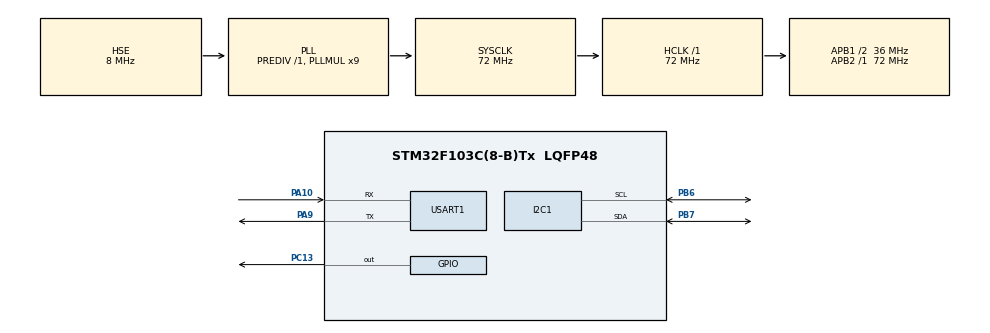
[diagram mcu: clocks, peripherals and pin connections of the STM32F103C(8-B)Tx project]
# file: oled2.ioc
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Dma.I2C1_RX.0.Direction=DMA_PERIPH_TO_MEMORY
Dma.I2C1_RX.0.Instance=DMA1_Channel7
Dma.I2C1_RX.0.MemDataAlignment=DMA_MDATAALIGN_BYTE
Dma.I2C1_RX.0.MemInc=DMA_MINC_ENABLE
Dma.I2C1_RX.0.Mode=DMA_NORMAL
Dma.I2C1_RX.0.PeriphDataAlignment=DMA_PDATAALIGN_BYTE
Dma.I2C1_RX.0.PeriphInc=DMA_PINC_DISABLE
Dma.I2C1_RX.0.Priority=DMA_PRIORITY_LOW
Dma.I2C1_TX.1.Direction=DMA_MEMORY_TO_PERIPH
Dma.I2C1_TX.1.Instance=DMA1_Channel6
Dma.I2C1_TX.1.MemDataAlignment=DMA_MDATAALIGN_BYTE
Dma.I2C1_TX.1.MemInc=DMA_MINC_ENABLE
Dma.I2C1_TX.1.Mode=DMA_NORMAL
Dma.I2C1_TX.1.PeriphDataAlignment=DMA_PDATAALIGN_BYTE
Dma.I2C1_TX.1.PeriphInc=DMA_PINC_DISABLE
Dma.I2C1_TX.1.Priority=DMA_PRIORITY_LOW
Dma.Request0=I2C1_RX
Dma.Request1=I2C1_TX
Mcu.Family=STM32F1
Mcu.Name=STM32F103C(8-B)Tx
Mcu.Package=LQFP48
NVIC.DMA1_Channel6_IRQn=true\:0\:0\:false\:false\:true\:false\:true\:true
NVIC.DMA1_Channel7_IRQn=true\:0\:0\:false\:false\:true\:false\:true\:true
NVIC.I2C1_ER_IRQn=true\:0\:0\:false\:false\:true\:true\:true\:true
NVIC.I2C1_EV_IRQn=true\:0\:0\:false\:false\:true\:true\:true\:true
NVIC.PriorityGroup=NVIC_PRIORITYGROUP_4
PA10.Mode=Asynchronous
PA10.Signal=USART1_RX
PA13.Mode=Serial_Wire
PA13.Signal=SYS_JTMS-SWDIO
PA14.Mode=Serial_Wire
PA14.Signal=SYS_JTCK-SWCLK
PA9.Mode=Asynchronous
PA9.Signal=USART1_TX
PB6.Mode=I2C
PB6.Signal=I2C1_SCL
PB7.Mode=I2C
PB7.Signal=I2C1_SDA
PC13-TAMPER-RTC.GPIO_PuPd=GPIO_PULLUP
PC13-TAMPER-RTC.PinState=GPIO_PIN_SET
PC13-TAMPER-RTC.Signal=GPIO_Output
PD0-OSC_IN.Mode=HSE-External-Oscillator
PD0-OSC_IN.Signal=RCC_OSC_IN
PD1-OSC_OUT.Mode=HSE-External-Oscillator
PD1-OSC_OUT.Signal=RCC_OSC_OUT
ProjectManager.HeapSize=0x200
ProjectManager.StackSize=0x400
ProjectManager.TargetToolchain=CMake
RCC.AHBFreq_Value=72000000
RCC.APB1CLKDivider=RCC_HCLK_DIV2
RCC.APB1Freq_Value=36000000
RCC.APB1TimFreq_Value=72000000
RCC.APB2Freq_Value=72000000
RCC.APB2TimFreq_Value=72000000
RCC.EnbaleCSS=true
RCC.HCLKFreq_Value=72000000
RCC.PLLMUL=RCC_PLL_MUL9
RCC.PLLSourceVirtual=RCC_PLLSOURCE_HSE
RCC.SYSCLKFreq_VALUE=72000000
RCC.SYSCLKSource=RCC_SYSCLKSOURCE_PLLCLK
RCC.USBFreq_Value=72000000
USART1.VirtualMode=VM_ASYNC
board=custom

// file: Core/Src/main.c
/* USER CODE BEGIN Header */
/**
  ******************************************************************************
  * @file           : main.c
  * @brief          : Main program body
  ******************************************************************************
  * @attention
  *
  * Copyright (c) 2026 STMicroelectronics.
  * All rights reserved.
  *
  * This software is licensed under terms that can be found in the LICENSE file
  * in the root directory of this software component.
  * If no LICENSE file comes with this software, it is provided AS-IS.
  *
  ******************************************************************************
  */
/* USER CODE END Header */
#include "main.h"

/* USER CODE BEGIN Includes */
#include "oled.h"
#include "MPU.h"

/* USER CODE END Includes */

I2C_HandleTypeDef hi2c1;
DMA_HandleTypeDef hdma_i2c1_rx;
DMA_HandleTypeDef hdma_i2c1_tx;

UART_HandleTypeDef huart1;

void SystemClock_Config(void);
static void MX_GPIO_Init(void);
static void MX_DMA_Init(void);
static void MX_I2C1_Init(void);
static void MX_USART1_UART_Init(void);

int main(void)
{

  /* USER CODE BEGIN 1 */
  int16_t a_x, a_y, a_z; //加速度
  int16_t w_x, w_y, w_z; //Omega
  int16_t a_x_tr, a_y_tr, a_z_tr; //加速度换算后的值
  int16_t w_x_tr, w_y_tr, w_z_tr; //角速度
  uint32_t now = 0;
  /* USER CODE END 1 */

  /* MCU Configuration--------------------------------------------------------*/

  /* Reset of all peripherals, Initializes the Flash interface and the Systick. */
  HAL_Init();

  /* Configure the system clock */
  SystemClock_Config();

  /* Initialize all configured peripherals */
  MX_GPIO_Init();
  MX_DMA_Init();
  MX_I2C1_Init();
  MX_USART1_UART_Init();
  /* USER CODE BEGIN 2 */
  OLED_Init();
  OLED_ShowString(0, 0, "MPU6050 Test", 16);
  MPU_Init();                         //先对MPU6050进行初始化
  //发送测试消息,屏幕正常
  if (g_mpu_ok)
  {
    OLED_ShowString(0, 2, "MPU6050 OK", 16);
    HAL_Delay(1000);
    OLED_ShowString(0, 0, "wx:", 16);  //24
    OLED_ShowString(0, 2, "wy:", 16);
    OLED_ShowString(0, 4, "wz:", 16);
    OLED_ShowString(64, 0, "ax:", 16);
    OLED_ShowString(64, 2, "ay:", 16);
    OLED_ShowString(64, 4, "az:", 16);
  }
  else
  {
    OLED_ShowString(0, 2, "MPU6050 ERR", 16);
  }

  //对于陀螺仪的检查不妨直接仍在主循环里面
  /* USER CODE END 2 */

  /* Infinite loop */
  /* USER CODE BEGIN WHILE */
  while (1)                             // 128 * 64(8)  128 = 8 * 16 = 3+3+2+8   25  57   - 1  cnm
    /* USER CODE END WHILE */

    /* USER CODE BEGIN 3 */
  if (g_mpu_ok && HAL_GetTick() - now > 200)  // 3*8 - 1 = 23  +8+1 = 24 +2*8 = 40  同理 80
  {
    now = HAL_GetTick();                                // 64ROW   128COL

    MPU_ReadRaw(&g_mpu);
    w_x = g_mpu.gyro_x_raw;
    w_y = g_mpu.gyro_y_raw;
    w_z = g_mpu.gyro_z_raw;
    a_x = g_mpu.acc_x_raw;
    a_y = g_mpu.acc_y_raw;
    a_z = g_mpu.acc_z_raw; //hal真好用。？

    MPU_Convert(&g_mpu);

    w_x_tr = (int16_t)(g_mpu.gyro_x * 10);
    w_y_tr = (int16_t)(g_mpu.gyro_y * 10);
    w_z_tr = (int16_t)(g_mpu.gyro_z * 10);
    a_x_tr = (int16_t)(g_mpu.acc_x * 100);
    a_y_tr = (int16_t)(g_mpu.acc_y * 100);
    a_z_tr = (int16_t)(g_mpu.acc_z * 100);

    OLED_ShowChar(24, 0, (w_x_tr < 0) ? '-' : ' ', 16);
    OLED_ShowNum (32, 0, (uint16_t)((w_x_tr < 0) ? -w_x_tr : w_x_tr), 4, 16);
    OLED_ShowChar(24, 2, (w_y_tr < 0) ? '-' : ' ', 16);
    OLED_ShowNum (32, 2, (uint16_t)((w_y_tr < 0) ? -w_y_tr : w_y_tr), 4, 16);
    OLED_ShowChar(24, 4, (w_z_tr < 0) ? '-' : ' ', 16);
    OLED_ShowNum (32, 4, (uint16_t)((w_z_tr < 0) ? -w_z_tr : w_z_tr), 4, 16);

    OLED_ShowChar(88, 0, (a_x_tr < 0) ? '-' : ' ', 16);
    OLED_ShowNum (96, 0, (uint16_t)((a_x_tr < 0) ? -a_x_tr : a_x_tr), 4, 16);
    OLED_ShowChar(88, 2, (a_y_tr < 0) ? '-' : ' ', 16);
    OLED_ShowNum (96, 2, (uint16_t)((a_y_tr < 0) ? -a_y_tr : a_y_tr), 4, 16);
    OLED_ShowChar(88, 4, (a_z_tr < 0) ? '-' : ' ', 16);
    OLED_ShowNum (96, 4, (uint16_t)((a_z_tr < 0) ? -a_z_tr : a_z_tr), 4, 16);
  }

    /* USER CODE END 3 */
  }
}

void SystemClock_Config(void)
{
  RCC_OscInitTypeDef RCC_OscInitStruct = {0};
  RCC_ClkInitTypeDef RCC_ClkInitStruct = {0};

  /** Initializes the RCC Oscillators according to the specified parameters
  * in the RCC_OscInitTypeDef structure.
  */
  RCC_OscInitStruct.OscillatorType = RCC_OSCILLATORTYPE_HSE;
  RCC_OscInitStruct.HSEState = RCC_HSE_ON;
  RCC_OscInitStruct.HSEPredivValue = RCC_HSE_PREDIV_DIV1;
  RCC_OscInitStruct.HSIState = RCC_HSI_ON;
  RCC_OscInitStruct.PLL.PLLState = RCC_PLL_ON;
  RCC_OscInitStruct.PLL.PLLSource = RCC_PLLSOURCE_HSE;
  RCC_OscInitStruct.PLL.PLLMUL = RCC_PLL_MUL9;
  if (HAL_RCC_OscConfig(&RCC_OscInitStruct) != HAL_OK)
  {
    Error_Handler();
  }

  /** Initializes the CPU, AHB and APB buses clocks
  */
  RCC_ClkInitStruct.ClockType = RCC_CLOCKTYPE_HCLK|RCC_CLOCKTYPE_SYSCLK
                              |RCC_CLOCKTYPE_PCLK1|RCC_CLOCKTYPE_PCLK2;
  RCC_ClkInitStruct.SYSCLKSource = RCC_SYSCLKSOURCE_PLLCLK;
  RCC_ClkInitStruct.AHBCLKDivider = RCC_SYSCLK_DIV1;
  RCC_ClkInitStruct.APB1CLKDivider = RCC_HCLK_DIV2;
  RCC_ClkInitStruct.APB2CLKDivider = RCC_HCLK_DIV1;

  if (HAL_RCC_ClockConfig(&RCC_ClkInitStruct, FLASH_LATENCY_2) != HAL_OK)
  {
    Error_Handler();
  }

  /** Enables the Clock Security System
  */
  HAL_RCC_EnableCSS();
}

static void MX_I2C1_Init(void)
{

  hi2c1.Instance = I2C1;
  hi2c1.Init.ClockSpeed = 100000;
  hi2c1.Init.DutyCycle = I2C_DUTYCYCLE_2;
  hi2c1.Init.OwnAddress1 = 0;
  hi2c1.Init.AddressingMode = I2C_ADDRESSINGMODE_7BIT;
  hi2c1.Init.DualAddressMode = I2C_DUALADDRESS_DISABLE;
  hi2c1.Init.OwnAddress2 = 0;
  hi2c1.Init.GeneralCallMode = I2C_GENERALCALL_DISABLE;
  hi2c1.Init.NoStretchMode = I2C_NOSTRETCH_DISABLE;
  if (HAL_I2C_Init(&hi2c1) != HAL_OK)
  {
    Error_Handler();
  }

}

static void MX_USART1_UART_Init(void)
{

  huart1.Instance = USART1;
  huart1.Init.BaudRate = 115200;
  huart1.Init.WordLength = UART_WORDLENGTH_8B;
  huart1.Init.StopBits = UART_STOPBITS_1;
  huart1.Init.Parity = UART_PARITY_NONE;
  huart1.Init.Mode = UART_MODE_TX_RX;
  huart1.Init.HwFlowCtl = UART_HWCONTROL_NONE;
  huart1.Init.OverSampling = UART_OVERSAMPLING_16;
  if (HAL_UART_Init(&huart1) != HAL_OK)
  {
    Error_Handler();
  }

}

static void MX_DMA_Init(void)
{

  /* DMA controller clock enable */
  __HAL_RCC_DMA1_CLK_ENABLE();

  /* DMA interrupt init */
  /* DMA1_Channel6_IRQn interrupt configuration */
  HAL_NVIC_SetPriority(DMA1_Channel6_IRQn, 0, 0);
  HAL_NVIC_EnableIRQ(DMA1_Channel6_IRQn);
  /* DMA1_Channel7_IRQn interrupt configuration */
  HAL_NVIC_SetPriority(DMA1_Channel7_IRQn, 0, 0);
  HAL_NVIC_EnableIRQ(DMA1_Channel7_IRQn);

}

static void MX_GPIO_Init(void)
{
  GPIO_InitTypeDef GPIO_InitStruct = {0};

  /* GPIO Ports Clock Enable */
  __HAL_RCC_GPIOC_CLK_ENABLE();
  __HAL_RCC_GPIOD_CLK_ENABLE();
  __HAL_RCC_GPIOA_CLK_ENABLE();
  __HAL_RCC_GPIOB_CLK_ENABLE();

  /*Configure GPIO pin Output Level */
  HAL_GPIO_WritePin(GPIOC, GPIO_PIN_13, GPIO_PIN_SET);

  /*Configure GPIO pin : PC13 */
  GPIO_InitStruct.Pin = GPIO_PIN_13;
  GPIO_InitStruct.Mode = GPIO_MODE_OUTPUT_PP;
  GPIO_InitStruct.Pull = GPIO_PULLUP;
  GPIO_InitStruct.Speed = GPIO_SPEED_FREQ_LOW;
  HAL_GPIO_Init(GPIOC, &GPIO_InitStruct);

}

void Error_Handler(void)
{
  __disable_irq();
  while (1)
  {
  }
}
